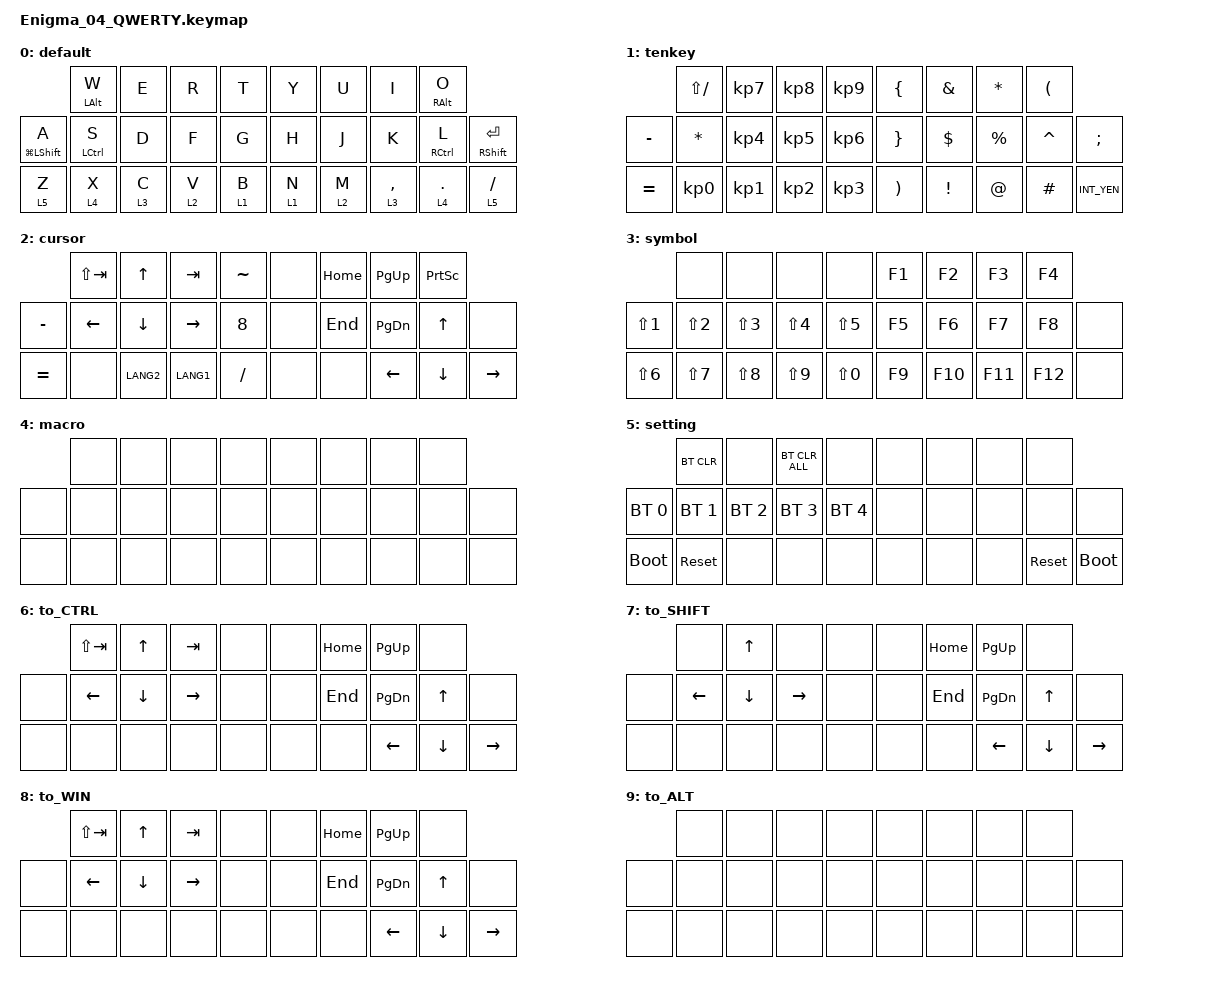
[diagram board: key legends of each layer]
#include <behaviors.dtsi>
#include <dt-bindings/zmk/bt.h>
#include <dt-bindings/zmk/keys.h>

#undef ZMK_POINTING_DEFAULT_SCRL_VAL

#define ZMK_POINTING_DEFAULT_SCRL_VAL 100

/ {
    // zmk-listeners

    layer_listeners {
        compatible = "zmk,layer-listeners";

        release_ctrl {
            layers = <6>;
            bindings = <&kt_on LCTRL &kt_off LCTRL>;
        };

        release_shift {
            layers = <7>;
            bindings = <&kt_on LEFT_SHIFT &kt_off LEFT_SHIFT>;
        };

        release_win {
            layers = <8>;
            bindings = <&kt_on LEFT_WIN &kt_off LEFT_WIN>;
        };

        release_alt {
            layers = <9>;
            bindings = <&kt_on LEFT_ALT &kt_off LEFT_ALT>;
        };
    };

    macros {
        // zmk-listeners

        to_kp: to_kp {
            compatible = "zmk,behavior-macro-two-param";
            #binding-cells = <2>;
            bindings = <&macro_param_1to1 &to MACRO_PLACEHOLDER &macro_param_2to1 &kp MACRO_PLACEHOLDER>;
            label = "to_kp";
        };

        // zmk-listeners

        mo_to_0: mo_to_0 {
            compatible = "zmk,behavior-macro-one-param";
            wait-ms = <0>;
            tap-ms = <0>;
            #binding-cells = <1>;
            bindings =
                <&macro_press>,
                <&macro_param_1to1 &mo MACRO_PLACEHOLDER>,
                <&macro_tap>,
                <&macro_pause_for_release>,
                <&macro_release>,
                <&macro_param_1to1 &mo MACRO_PLACEHOLDER>,
                <&macro_tap>,
                <&to 0>;

            label = "MO_to_0";
        };
    };

    behaviors {
        // Layout shift

        original_key_press: original_key_press {
            compatible = "zmk,behavior-key-press";
            #binding-cells = <1>;
            label = "KEY_PRESS";
        };

        // Layout shift

        kp: key_press {
            compatible = "zmk,behavior-layout-shift-key-press";
            #binding-cells = <1>;
            label = "LAYOUT_SHIFT_KEY_PRESS";
        };

        // zmk-listeners

        kt_on: key_toggle_on_only {
            compatible = "zmk,behavior-key-toggle";
            #binding-cells = <1>;
            display-name = "Key Toggle On";
            toggle-mode = "on";
        };

        // zmk-listeners

        kt_off: key_toggle_off_only {
            compatible = "zmk,behavior-key-toggle";
            #binding-cells = <1>;
            display-name = "Key Toggle Off";
            toggle-mode = "off";
        };

        // zmk-listeners

        lt_to_0: lt_to_0 {
            compatible = "zmk,behavior-hold-tap";
            label = "LT_to_0";
            bindings = <&mo_to_0>, <&kp>;

            #binding-cells = <2>;
            tapping-term-ms = <200>;
            quick-tap-ms = <200>;
            flavor = "balanced";
        };

        td1: td_hz_mo_kn {
            compatible = "zmk,behavior-tap-dance";
            label = "TD_HZ_MO_KN";
            #binding-cells = <0>;
            bindings = <&lt 9 TILDE>;
        };

        td2: td_f7_mo_f8 {
            compatible = "zmk,behavior-tap-dance";
            label = "TD_F7_MO_F8";
            #binding-cells = <0>;
            bindings = <&lt 9 F7>, <&kp F8>;
        };

        td3: td_space_mo_b {
            compatible = "zmk,behavior-tap-dance";
            label = "TD_SPACE_MO_B";
            #binding-cells = <0>;
            bindings = <&lt 1 SPACE>, <&kp B>;
        };

        td4: coron_semicoron {
            compatible = "zmk,behavior-tap-dance";
            label = "coron_semicoron";
            #binding-cells = <0>;
            bindings = <&kp COLON>, <&kp SEMICOLON>;
        };

        Ctl: td_ctrl_toctrl {
            compatible = "zmk,behavior-tap-dance";
            label = "td_CTRL_TOCTRL";
            #binding-cells = <0>;
            bindings = <&kp LCTRL>, <&mo 6>;
        };

        WIN: td_win_towin {
            compatible = "zmk,behavior-tap-dance";
            label = "TD_WIN_TOWIN";
            #binding-cells = <0>;
            bindings = <&kp LEFT_WIN>, <&mo 8>;
        };

        Sft: td_shift_toshift {
            compatible = "zmk,behavior-tap-dance";
            label = "TD_SHIFT_TOSHIFT";
            #binding-cells = <0>;
            bindings = <&kp LEFT_SHIFT>, <&mo 7>;
        };

        ALT: td_alt_toalt {
            compatible = "zmk,behavior-tap-dance";
            label = "TD_ALT_TOALT";
            #binding-cells = <0>;
            bindings = <&kp LEFT_ALT>, <&mo 9>;
        };
    };

    combos {
        compatible = "zmk,combos";

        q {
            bindings = <&kp Q>;
            key-positions = <1 0>;
        };

        p {
            bindings = <&kp P>;
            key-positions = <6 7>;
        };

        space {
            bindings = <&kp SPACE>;
            key-positions = <9 10>;
        };

        backsapce {
            bindings = <&kp BACKSPACE>;
            key-positions = <15 16>;
        };

        us {
            bindings = <&kp LANG2>;
            key-positions = <1 2>;
        };

        JP {
            bindings = <&kp LANG1>;
            key-positions = <5 6>;
        };
    };

    keymap {
        compatible = "zmk,keymap";

        default {
            bindings = <
                      &mt LEFT_ALT W  &kp E    &kp R    &kp T    &kp Y    &kp U    &kp I        &mt RIGHT_ALT O
&mt LG(LEFT_SHIFT) A  &mt LCTRL S     &kp D    &kp F    &kp G    &kp H    &kp J    &kp K        &mt RCTRL L      &mt RIGHT_SHIFT ENTER
&lt 5 Z               &lt 4 X         &lt 3 C  &lt 2 V  &lt 1 B  &lt 1 N  &lt 2 M  &lt 3 COMMA  &lt 4 PERIOD     &lt 5 SLASH
            >;
        };

        tenkey {
            bindings = <
           &kp LS(SLASH)  &kp KP_N7  &kp KP_N8  &kp KP_N9  &kp LEFT_BRACE         &kp AMPS         &kp ASTRK    &kp LEFT_PARENTHESIS
&kp MINUS  &kp ASTERISK   &kp KP_N4  &kp KP_N5  &kp KP_N6  &kp RIGHT_BRACE        &kp DOLLAR       &kp PERCENT  &kp CARET             &kp SEMICOLON
&kp EQUAL  &kp KP_N0      &kp KP_N1  &kp KP_N2  &kp KP_N3  &kp RIGHT_PARENTHESIS  &kp EXCLAMATION  &kp AT       &kp HASH              &kp INT_YEN
            >;
        };

        cursor {
            bindings = <
           &kp LS(TAB)  &kp UP     &kp TAB    &kp TILDE  &none  &kp HOME  &kp PAGE_UP    &kp PRINTSCREEN
&kp MINUS  &kp LEFT     &kp DOWN   &kp RIGHT  &kp N8     &none  &kp END   &kp PAGE_DOWN  &kp UP           &none
&kp EQUAL  &none        &kp LANG2  &kp LANG1  &kp SLASH  &none  &none     &kp LEFT       &kp DOWN         &kp RIGHT
            >;
        };

        symbol {
            bindings = <
            &none       &none       &none       &none       &kp F1  &kp F2   &kp F3   &kp F4
&kp LS(N1)  &kp LS(N2)  &kp LS(N3)  &kp LS(N4)  &kp LS(N5)  &kp F5  &kp F6   &kp F7   &kp F8   &none
&kp LS(N6)  &kp LS(N7)  &kp LS(N8)  &kp LS(N9)  &kp LS(N0)  &kp F9  &kp F10  &kp F11  &kp F12  &none
            >;
        };

        macro {
            bindings = <
       &none  &none  &none  &none  &none  &none  &none  &none
&none  &none  &none  &none  &none  &none  &none  &none  &none  &none
&none  &none  &none  &none  &none  &none  &none  &none  &none  &none
            >;
        };

        setting {
            bindings = <
              &bt BT_CLR    &none         &bt BT_CLR_ALL  &none         &none  &none  &none  &none
&bt BT_SEL 0  &bt BT_SEL 1  &bt BT_SEL 2  &bt BT_SEL 3    &bt BT_SEL 4  &none  &none  &none  &none       &none
&bootloader   &sys_reset    &none         &none           &none         &none  &none  &none  &sys_reset  &bootloader
            >;
        };

        to_CTRL {
            bindings = <
       &kp LS(TAB)  &kp UP    &kp TAB    &none  &none  &kp HOME  &kp PAGE_UP    &none
&none  &kp LEFT     &kp DOWN  &kp RIGHT  &none  &none  &kp END   &kp PAGE_DOWN  &kp UP    &none
&none  &none        &none     &none      &none  &none  &none     &kp LEFT       &kp DOWN  &kp RIGHT
            >;
        };

        to_SHIFT {
            bindings = <
       &none     &kp UP    &none      &none  &none  &kp HOME  &kp PAGE_UP    &none
&none  &kp LEFT  &kp DOWN  &kp RIGHT  &none  &none  &kp END   &kp PAGE_DOWN  &kp UP    &none
&none  &none     &none     &none      &none  &none  &none     &kp LEFT       &kp DOWN  &kp RIGHT
            >;
        };

        to_WIN {
            bindings = <
       &kp LS(TAB)  &kp UP    &kp TAB    &none  &none  &kp HOME  &kp PAGE_UP    &none
&none  &kp LEFT     &kp DOWN  &kp RIGHT  &none  &none  &kp END   &kp PAGE_DOWN  &kp UP    &none
&none  &none        &none     &none      &none  &none  &none     &kp LEFT       &kp DOWN  &kp RIGHT
            >;
        };

        to_ALT {
            bindings = <
       &none  &none  &none  &none  &none  &none  &none  &none
&none  &none  &none  &none  &none  &none  &none  &none  &none  &none
&none  &none  &none  &none  &none  &none  &none  &none  &none  &none
            >;
        };
    };
};
